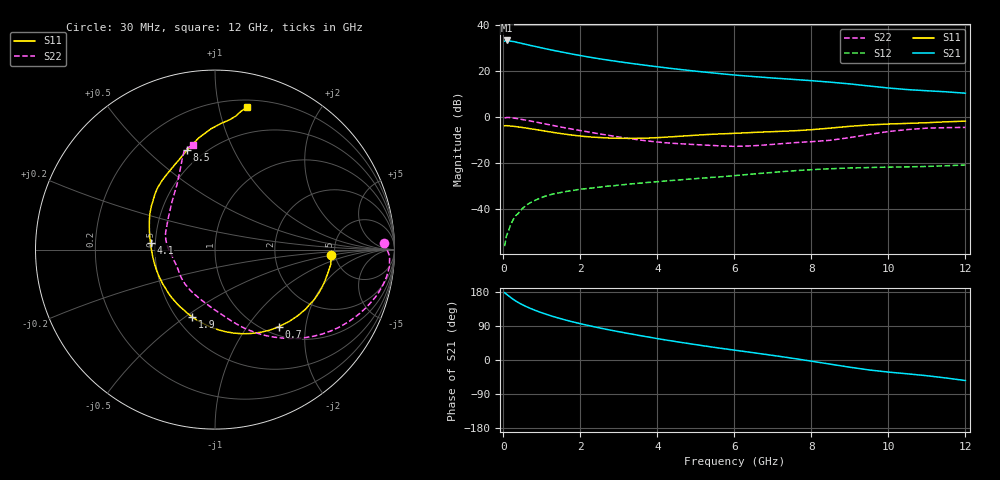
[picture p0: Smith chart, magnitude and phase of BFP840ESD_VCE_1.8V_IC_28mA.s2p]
! Infineon Technologies  Discrete & RF Semiconductors
! BFP840ESD
! VCE =  1.8 V,  IC =  28 mA
! Common Emitter S-Parameters:  May 2012
# GHz  S  MA  R  50
!  f  S11  S21  S12  S22
! GHz  MAG  ANG  MAG  ANG  MAG  ANG  MAG  ANG
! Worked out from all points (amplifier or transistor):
!   93 points, 30 MHz to 12 GHz, reference 50 ohm
!   highest |S21| = 33.1 dB at 80 MHz (marker M1)
!   |S21| within 3 dB of that: start of sweep to 935.4 MHz
!   unconditionally stable (mu >= 1): 4.399 GHz to 7.813 GHz
!   at 1.1 GHz: K = 0.47, MSG = 31.9 dB, |S12| = -34.2 dB
!   at 4.2 GHz: K = 0.99, MSG = 24.5 dB, |S12| = -27.7 dB
!   at 12 GHz: K = 0.73, MSG = 15.5 dB, |S12| = -20.8 dB
!   S11 on the Smith chart (normalised r, x): 30 MHz: 4.60, -0.45; 700 MHz: 1.15, -1.43; 1.9 GHz: 0.60, -0.53; 4.1 GHz: 0.47, +0.04; 8.5 GHz: 0.41, +0.68; 12 GHz: 0.26, +1.22
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0.03  0.646 -2.5  44 177.7  0.0016 85.3  0.9428 2.3
0.08  0.6507 -7.0  45.37 173.5  0.0027 79.1  0.9738 -2.1
0.23  0.632 -19.5  43.3 161.9  0.0055 75.4  0.9575 -11.6
0.33  0.6186 -26.9  41.7 155.0  0.0075 76.7  0.9315 -16.6
0.43  0.6036 -33.5  40.06 149.2  0.0091 73.4  0.9012 -21.1
0.5  0.5907 -38.4  38.68 145.4  0.0106 73.1  0.8794 -24.1
0.7  0.5574 -50.5  35.39 136.1  0.014 66.1  0.8194 -31.6
1  0.5084 -66.9  31.24 124.4  0.0182 59.8  0.7318 -41.2
1.3  0.463 -82.1  27.64 114.5  0.0216 54.8  0.6524 -49.4
1.6  0.4258 -95.6  24.7 105.9  0.0242 50.5  0.5835 -56.5
1.9  0.3955 -108.8  22.13 98.2  0.0265 48.0  0.5252 -62.8
2.1  0.3791 -117.0  20.67 93.4  0.0279 46.7  0.4913 -66.6
2.5  0.3596 -132.7  18.19 84.6  0.0303 44.2  0.4312 -73.9
2.9  0.3482 -147.3  16.19 76.5  0.0328 42.5  0.3802 -81.2
3.5  0.3464 -167.4  13.81 65.3  0.0368 40.1  0.3215 -94.1
4.1  0.3611 174.2  11.93 54.8  0.0405 37.9  0.2825 -109.4
5.2  0.4134 151.4  9.423 37.4  0.0478 33.9  0.2474 -137.1
6.1  0.4466 139.6  7.983 24.7  0.0547 30.8  0.2328 -158.7
8.5  0.5758 105.6  5.67 -11.1  0.0759 13.5  0.314 146.0
9.5  0.6735 91.9  4.684 -26.3  0.0806 4.6  0.4204 120.2
10.5  0.7275 83.6  3.915 -36.5  0.0833 -2.2  0.5353 110.0
12  0.8136 77.2  3.278 -54.2  0.0915 -10.0  0.5969 101.6
